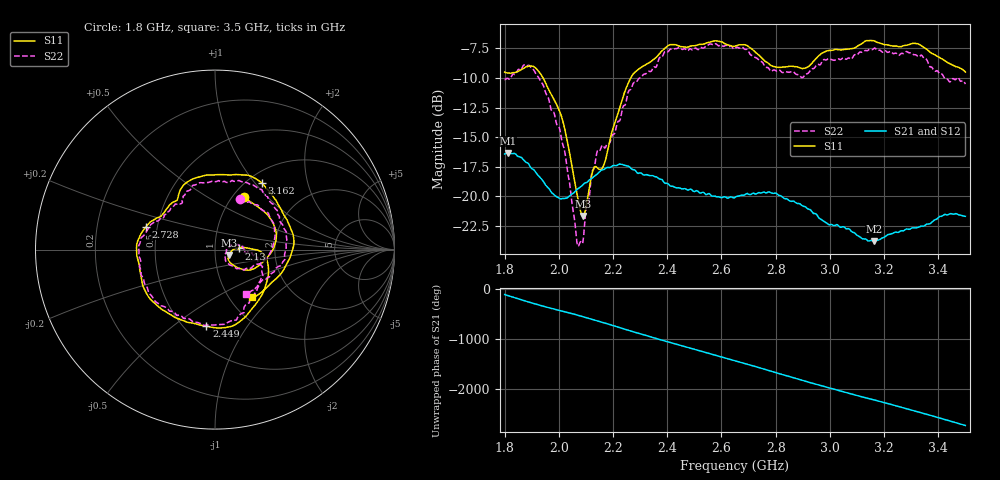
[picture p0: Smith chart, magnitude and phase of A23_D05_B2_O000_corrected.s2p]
! Created with skrf 1.9.0 (http://scikit-rf.org).
# Hz S RI R 50.0
!freq ReS11 ImS11 ReS21 ImS21 ReS12 ImS12 ReS22 ImS22
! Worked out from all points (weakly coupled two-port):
!   1601 points, 1.8 GHz to 3.5 GHz, reference 50 ohm
!   highest |S21| = -16.33 dB at 1.812 GHz (marker M1); lowest = -23.8 dB at 3.163 GHz (marker M2)
!   lowest |S11| = -21.7 dB at 2.09 GHz (marker M3), VSWR 1.18, Z = 58.2 - j3.47 ohm
!   |S11| at or under -10 dB: 1.942 GHz to 2.265 GHz (322.9 MHz wide, 15.4 % of centre)
!   |S22| runs from -24.2 to -7.1 dB; largest |S21 - S12| = 0.0027
!   S11 on the Smith chart (normalised r, x): 1.8 GHz: 1.13, +0.74; 2.13 GHz: 1.31, +0.02; 2.449 GHz: 0.64, -0.67; 2.728 GHz: 0.43, +0.13; 3.162 GHz: 1.15, +1.09; 3.5 GHz: 1.27, -0.76
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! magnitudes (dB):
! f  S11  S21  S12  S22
! 1.8 GHz  -9.5  -16.4  -16.4  -10.1
! 1.812 GHz  -9.6  -16.3  -16.3  -10.0
! 1.887 GHz  -9.0  -17.2  -17.3  -8.9
! 1.941 GHz  -10.0  -18.7  -18.7  -10.6
! 2.013 GHz  -13.5  -20.2  -20.2  -15.5
! 2.067 GHz  -19.8  -19.4  -19.4  -23.9
! 2.084 GHz  -21.5  -19.1  -19.1  -23.9
! 2.09 GHz  -21.7  -19.0  -19.0  -23.7
! 2.13 GHz  -17.6  -18.3  -18.3  -17.6
! 2.166 GHz  -17.4  -17.7  -17.7  -15.8
! 2.266 GHz  -10.0  -17.6  -17.6  -10.9
! 2.367 GHz  -8.1  -18.5  -18.4  -8.5
! 2.449 GHz  -7.3  -19.3  -19.3  -7.5
! 2.65 GHz  -7.3  -20.1  -20.1  -7.5
! 2.728 GHz  -7.9  -19.8  -19.8  -8.3
! 2.799 GHz  -9.0  -19.7  -19.7  -9.4
! 2.934 GHz  -8.7  -21.3  -21.3  -9.2
! 3.162 GHz  -6.8  -23.8  -23.7  -7.5
! 3.163 GHz  -6.9  -23.8  -23.7  -7.5
! 3.217 GHz  -7.2  -23.2  -23.2  -7.8
! 3.326 GHz  -7.1  -22.6  -22.6  -8.2
! 3.5 GHz  -9.5  -21.7  -21.7  -10.5
